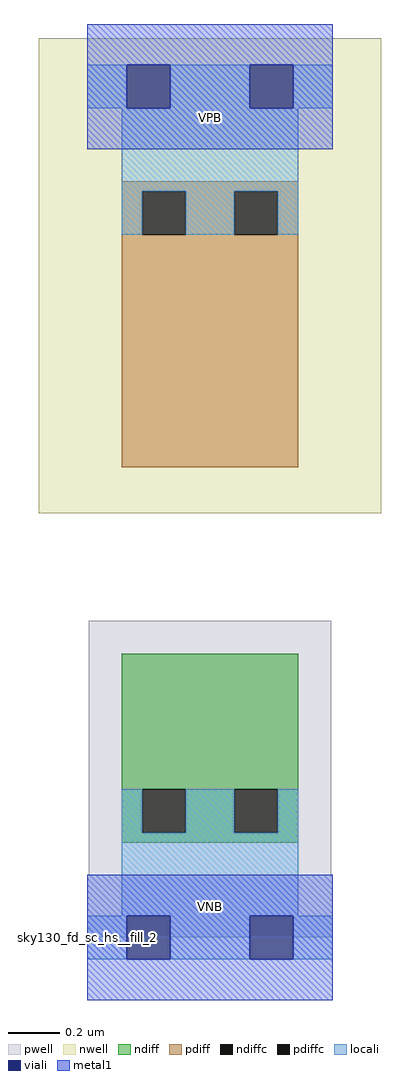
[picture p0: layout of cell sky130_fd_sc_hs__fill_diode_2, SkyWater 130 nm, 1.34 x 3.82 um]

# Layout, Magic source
magic
tech sky130A
magscale 1 2
<< nwell >>
rect -38 332 230 704
<< pwell >>
rect 1 49 191 248
rect 0 0 192 49
<< ndiff >>
rect 27 116 165 222
rect 27 82 43 116
rect 77 82 115 116
rect 149 82 165 116
rect 27 74 165 82
<< pdiff >>
rect 27 584 165 592
rect 27 550 43 584
rect 77 550 115 584
rect 149 550 165 584
rect 27 368 165 550
<< ndiffc >>
rect 43 82 77 116
rect 115 82 149 116
<< pdiffc >>
rect 43 550 77 584
rect 115 550 149 584
<< locali >>
rect 0 649 31 683
rect 65 649 127 683
rect 161 649 192 683
rect 27 584 165 649
rect 27 550 43 584
rect 77 550 115 584
rect 149 550 165 584
rect 27 82 43 116
rect 77 82 115 116
rect 149 82 165 116
rect 27 17 165 82
rect 0 -17 31 17
rect 65 -17 127 17
rect 161 -17 192 17
<< viali >>
rect 31 649 65 683
rect 127 649 161 683
rect 31 -17 65 17
rect 127 -17 161 17
<< metal1 >>
rect 0 683 192 715
rect 0 649 31 683
rect 65 649 127 683
rect 161 649 192 683
rect 0 617 192 649
rect 0 17 192 49
rect 0 -17 31 17
rect 65 -17 127 17
rect 161 -17 192 17
rect 0 -49 192 -17
<< labels >>
flabel pwell s 0 0 192 49 0 FreeSans 200 0 0 0 VNB
port 2 nsew ground bidirectional
flabel nwell s 0 617 192 666 0 FreeSans 200 0 0 0 VPB
port 3 nsew power bidirectional
rlabel comment s 0 0 0 0 4 sky130_fd_sc_hs__fill_2
flabel metal1 s 0 617 192 666 0 FreeSans 200 0 0 0 VPWR
port 4 nsew power bidirectional abutment
flabel metal1 s 0 0 192 49 0 FreeSans 200 0 0 0 VGND
port 1 nsew ground bidirectional abutment
<< properties >>
string LEFsite unit
string LEFclass CORE SPACER
string FIXED_BBOX 0 0 192 666
string GDS_FILE $PDKPATH/libs.ref/sky130_fd_sc_hs/gds/sky130_fd_sc_hs.gds
string LEFsymmetry X Y
string GDS_END 1264858
string GDS_START 1262908
<< end >>
